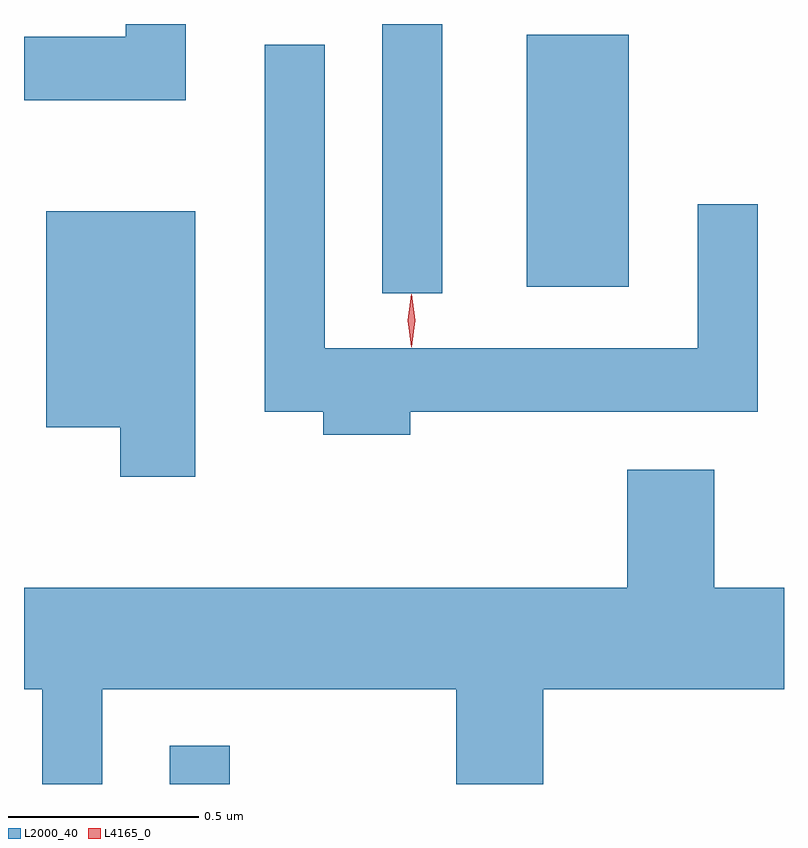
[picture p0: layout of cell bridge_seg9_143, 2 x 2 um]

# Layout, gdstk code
import gdstk
lib = gdstk.Library(unit=1e-6, precision=1e-09)
def R(c, l, rs):  # rectangles x0, y0, x1, y1
    for r in rs: c.add(gdstk.rectangle(r[:2], r[2:], *l))
def P(c, l, *ps):  # polygons
    for p in ps: c.add(gdstk.Polygon(p, *l))
L2000_40 = (2000, 40)
L4165_0 = (4165, 0)

bridge_seg9_143 = lib.new_cell('bridge_seg9_143')
R(bridge_seg9_143, L2000_40, [(1371.306,2067.047,1371.464,2067.148), (1371.866,2068.338,1372.024,2069.047), (1372.246,2068.356,1372.514,2069.019)])
P(bridge_seg9_143, L2000_40, [(1371.349,2069.047),(1371.191,2069.047),(1371.191,2069.014),(1370.923,2069.014),(1370.923,2068.846),(1371.349,2068.846)],
  [(1371.939,2068.026),(1372.854,2068.026),(1372.854,2068.573),(1372.696,2068.573),(1372.696,2068.194),(1371.714,2068.194),(1371.714,2068.992),(1371.556,2068.992),(1371.556,2068.026),(1371.711,2068.026),(1371.711,2067.966),(1371.939,2067.966)],
  [(1371.374,2068.554),(1370.981,2068.554),(1370.981,2067.986),(1371.176,2067.986),(1371.176,2067.856),(1371.374,2067.856)],
  [(1371.129,2067.296),(1372.061,2067.296),(1372.061,2067.047),(1372.289,2067.047),(1372.289,2067.296),(1372.923,2067.296),(1372.923,2067.564),(1372.739,2067.564),(1372.739,2067.874),(1372.511,2067.874),(1372.511,2067.564),(1370.923,2067.564),(1370.923,2067.296),(1370.971,2067.296),(1370.971,2067.047),(1371.129,2067.047)])
P(bridge_seg9_143, L4165_0, [(1371.943,2068.197),(1371.942,2068.198),(1371.933,2068.267),(1371.942,2068.336),(1371.943,2068.336),(1371.944,2068.336),(1371.953,2068.267),(1371.944,2068.198)],
  [(1371.942,2068.2),(1371.933,2068.266),(1371.942,2068.333),(1371.943,2068.333),(1371.944,2068.333),(1371.953,2068.266),(1371.944,2068.2),(1371.943,2068.2)])

lib.write_gds('bridge_seg9_143.gds')
